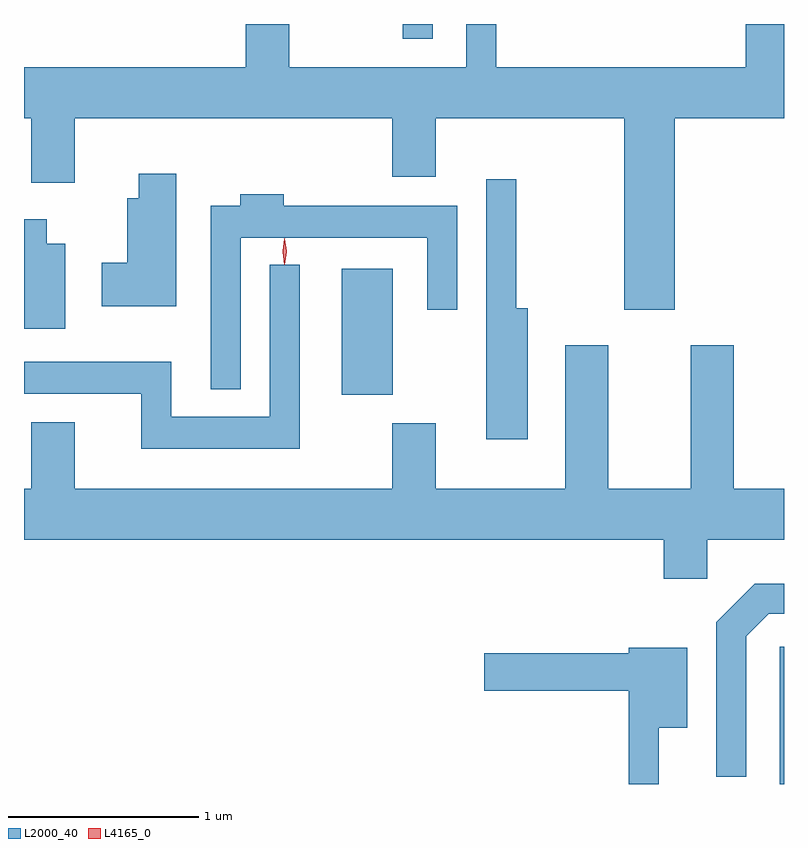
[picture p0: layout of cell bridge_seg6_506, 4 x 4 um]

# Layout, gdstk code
import gdstk
lib = gdstk.Library(unit=1e-6, precision=1e-09)
def R(c, l, rs):  # rectangles x0, y0, x1, y1
    for r in rs: c.add(gdstk.rectangle(r[:2], r[2:], *l))
def P(c, l, *ps):  # polygons
    for p in ps: c.add(gdstk.Polygon(p, *l))
L2000_40 = (2000, 40)
L4165_0 = (4165, 0)

bridge_seg6_506 = lib.new_cell('bridge_seg6_506')
R(bridge_seg6_506, L2000_40, [(514.671,1650.871,514.693,1651.594), (512.366,1652.921,512.634,1653.584), (512.686,1654.793,512.844,1654.871)])
P(bridge_seg6_506, L2000_40, [(514.119,1654.376),(514.693,1654.376),(514.693,1654.871),(514.491,1654.871),(514.491,1654.644),(513.179,1654.644),(513.179,1654.871),(513.021,1654.871),(513.021,1654.644),(512.089,1654.644),(512.089,1654.871),(511.861,1654.871),(511.861,1654.644),(510.693,1654.644),(510.693,1654.376),(510.731,1654.376),(510.731,1654.036),(510.959,1654.036),(510.959,1654.376),(512.631,1654.376),(512.631,1654.066),(512.859,1654.066),(512.859,1654.376),(513.851,1654.376),(513.851,1653.366),(514.119,1653.366)],
  [(511.494,1654.084),(511.296,1654.084),(511.296,1653.954),(511.236,1653.954),(511.236,1653.614),(511.101,1653.614),(511.101,1653.386),(511.494,1653.386)],
  [(513.344,1653.374),(513.284,1653.374),(513.284,1654.053),(513.126,1654.053),(513.126,1652.686),(513.344,1652.686)],
  [(511.834,1653.746),(512.816,1653.746),(512.816,1653.368),(512.974,1653.368),(512.974,1653.914),(512.059,1653.914),(512.059,1653.974),(511.831,1653.974),(511.831,1653.914),(511.676,1653.914),(511.676,1652.948),(511.834,1652.948)],
  [(510.909,1653.714),(510.814,1653.714),(510.814,1653.844),(510.693,1653.844),(510.693,1653.266),(510.909,1653.266)],
  [(512.144,1653.603),(511.986,1653.603),(511.986,1652.804),(511.469,1652.804),(511.469,1653.094),(510.693,1653.094),(510.693,1652.926),(511.311,1652.926),(511.311,1652.636),(512.144,1652.636)],
  [(514.289,1652.156),(514.693,1652.156),(514.693,1652.424),(514.429,1652.424),(514.429,1653.179),(514.201,1653.179),(514.201,1652.424),(513.769,1652.424),(513.769,1653.179),(513.541,1653.179),(513.541,1652.424),(512.859,1652.424),(512.859,1652.769),(512.631,1652.769),(512.631,1652.424),(510.959,1652.424),(510.959,1652.774),(510.731,1652.774),(510.731,1652.424),(510.693,1652.424),(510.693,1652.156),(514.061,1652.156),(514.061,1651.951),(514.289,1651.951)],
  [(514.494,1651.649),(514.612,1651.766),(514.693,1651.766),(514.693,1651.924),(514.539,1651.924),(514.336,1651.722),(514.336,1650.908),(514.494,1650.908)],
  [(514.034,1651.166),(514.184,1651.166),(514.184,1651.589),(513.876,1651.589),(513.876,1651.559),(513.116,1651.559),(513.116,1651.361),(513.876,1651.361),(513.876,1650.871),(514.034,1650.871)])
P(bridge_seg6_506, L4165_0, [(512.065,1653.607),(512.064,1653.608),(512.055,1653.674),(512.064,1653.74),(512.065,1653.741),(512.065,1653.74),(512.075,1653.674),(512.065,1653.608)],
  [(512.064,1653.604),(512.055,1653.673),(512.064,1653.742),(512.065,1653.743),(512.066,1653.742),(512.075,1653.673),(512.066,1653.604),(512.065,1653.604)])

lib.write_gds('bridge_seg6_506.gds')
